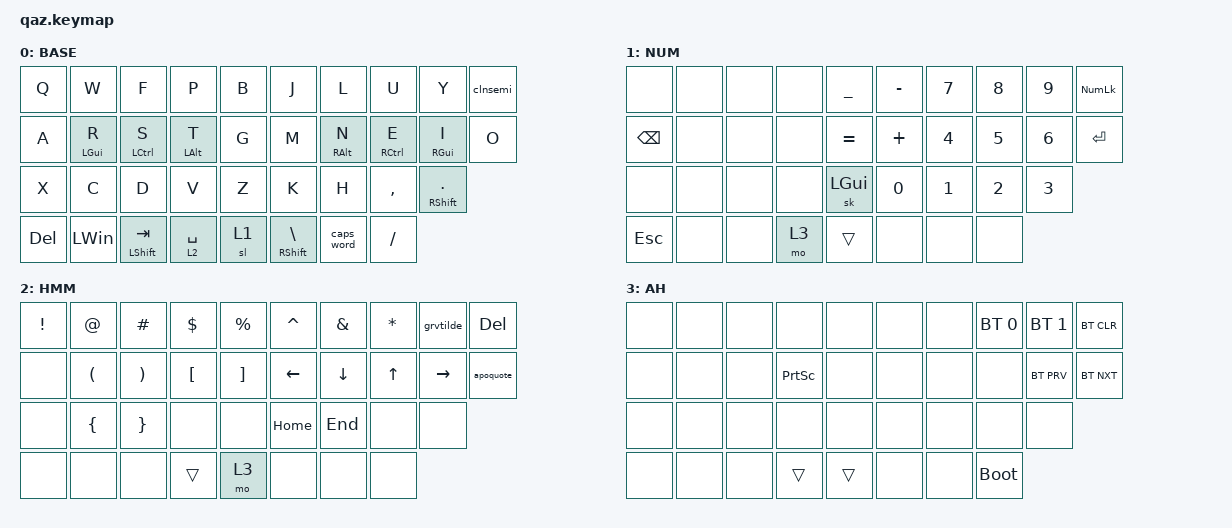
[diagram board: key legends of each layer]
/*
 * Copyright (c) 2020 The ZMK Contributors
 *
 * SPDX-License-Identifier: MIT
 */

#include <behaviors.dtsi>
#include <dt-bindings/zmk/bt.h>
#include <dt-bindings/zmk/keys.h>

#define BASE 0
#define THINGS 1
#define HMM 2

&kscan0 {
    debounce-press-ms = <100>;
    debounce-release-ms = <100>;
};

/ {
    combos {
        compatible = "zmk,combos";

        combo_esc {
            timeout-ms = <50>;
            key-positions = <0 1>;
            bindings = <&gresc>;
            layers = <0>;
        };
    };
};

/ {
    behaviors {
        gqt: global-quick-tap {
            compatible = "zmk,behavior-hold-tap";
            label = "GLOBAL_QUICK_TAP";
            #binding-cells = <2>;
            flavor = "tap-preferred";
            tapping-term-ms = <300>;
            quick-tap-ms = <0>;
            global-quick-tap;
            bindings = <&kp>, <&kp>;

            hold-trigger-key-positions = <10 11 12 13 19 18 17 16>;
        };

        ht_bl: balanced-hold-tap {
            compatible = "zmk,behavior-hold-tap";
            label = "BALANCED-HOLD-TAP";
            #binding-cells = <2>;
            flavor = "balanced";
            tapping-term-ms = <300>;
            quick-tap-ms = <0>;
            bindings = <&kp>, <&kp>;
        };

        osm: one_shot_mods {
            compatible = "zmk,behavior-hold-tap";
            label = "ONE_SHOT_MODS";
            #binding-cells = <2>;
            tapping-term-ms = <300>;// <---[[moderate duration]]
            quick-tap-ms = <0>;
            flavor = "balanced";
            bindings = <&sk>, <&kp>;
        };

        // TAP DANCES

        bslhpipe: tap_dance_backslash_pipe {
            compatible = "zmk,behavior-tap-dance";
            label = "TAP_DANCE_BACKSLASH_PIPE";
            #binding-cells = <0>;
            tapping-term-ms = <300>;
            bindings = <&kp BSLH>, <&kp PIPE>;
        };

        grvtilde: tap_dance_grave_tilde {
            compatible = "zmk,behavior-tap-dance";
            label = "TAP_DANCE_GRAVE_TILDE";
            #binding-cells = <0>;
            tapping-term-ms = <300>;
            bindings = <&kp GRAVE>, <&kp TILDE>;
        };

        apoquote: tap_dance_apostrophe_quote {
            compatible = "zmk,behavior-tap-dance";
            label = "TAP_DANCE_APOSTROPE_QUOTE";
            #binding-cells = <0>;
            tapping-term-ms = <300>;
            bindings = <&kp SQT>, <&kp DQT>;
        };

        clnsemi: tap_dance_close {
            compatible = "zmk,behavior-tap-dance";
            label = "TAP_DANCE_COLON_SEMICOLON";
            #binding-cells = <0>;
            tapping-term-ms = <300>;
            bindings = <&kp COLON>, <&kp SEMICOLON>;
        };

        skq: sticky_key_quick_release {
            compatible = "zmk,behavior-sticky-key";
            label = "STICKY_KEY_QUICK_RELEASE";
            #binding-cells = <1>;
            bindings = <&kp>;
            release-after-ms = <500>;
            quick-release;
        };
    };

    keymap {
        compatible = "zmk,keymap";

        BASE {
            bindings = <
&kp Q       &kp W         &kp F               &kp P        &kp B  &kp J           &kp L        &kp U         &kp Y                    &clnsemi
&kp A       &gqt LGUI R   &gqt LCTRL S        &gqt LALT T  &kp G  &kp M           &gqt RALT N  &gqt RCTRL E  &gqt RGUI I              &kp O
&kp X       &kp C         &kp D               &kp V        &kp Z  &kp K           &kp H        &kp COMMA     &gqt RIGHT_SHIFT PERIOD
&kp DELETE  &kp LEFT_WIN  &mt LEFT_SHIFT TAB  &lt 2 SPACE  &sl 1  &mt RSHFT BSLH  &caps_word   &kp FSLH
            >;
        };

        NUM {
            bindings = <
&none          &none  &none  &none  &kp UNDERSCORE  &kp MINUS  &kp N7  &kp N8  &kp N9  &kp KP_NUMLOCK
&kp BACKSPACE  &none  &none  &none  &kp EQUAL       &kp PLUS   &kp N4  &kp N5  &kp N6  &kp ENTER
&none          &none  &none  &none  &sk LGUI        &kp N0     &kp N1  &kp N2  &kp N3
&kp ESC        &none  &none  &mo 3  &trans          &none      &none   &none
            >;
        };

        HMM {
            bindings = <
&kp EXCL  &kp AT                &kp HASH               &kp DOLLAR        &kp PERCENT        &kp CARET       &kp AMPERSAND   &kp STAR      &grvtilde        &kp DELETE
&none     &kp LEFT_PARENTHESIS  &kp RIGHT_PARENTHESIS  &kp LEFT_BRACKET  &kp RIGHT_BRACKET  &kp LEFT_ARROW  &kp DOWN_ARROW  &kp UP_ARROW  &kp RIGHT_ARROW  &apoquote
&none     &kp LEFT_BRACE        &kp RIGHT_BRACE        &none             &none              &kp HOME        &kp END         &none         &none
&none     &none                 &none                  &trans            &mo 3              &none           &none           &none
            >;
        };

        AH {
            bindings = <
&none  &none  &none  &none            &none   &none  &none  &bt BT_SEL 0  &bt BT_SEL 1  &bt BT_CLR
&none  &none  &none  &kp PRINTSCREEN  &none   &none  &none  &none         &bt BT_PRV    &bt BT_NXT
&none  &none  &none  &none            &none   &none  &none  &none         &none
&none  &none  &none  &trans           &trans  &none  &none  &bootloader
            >;
        };
    };
};
